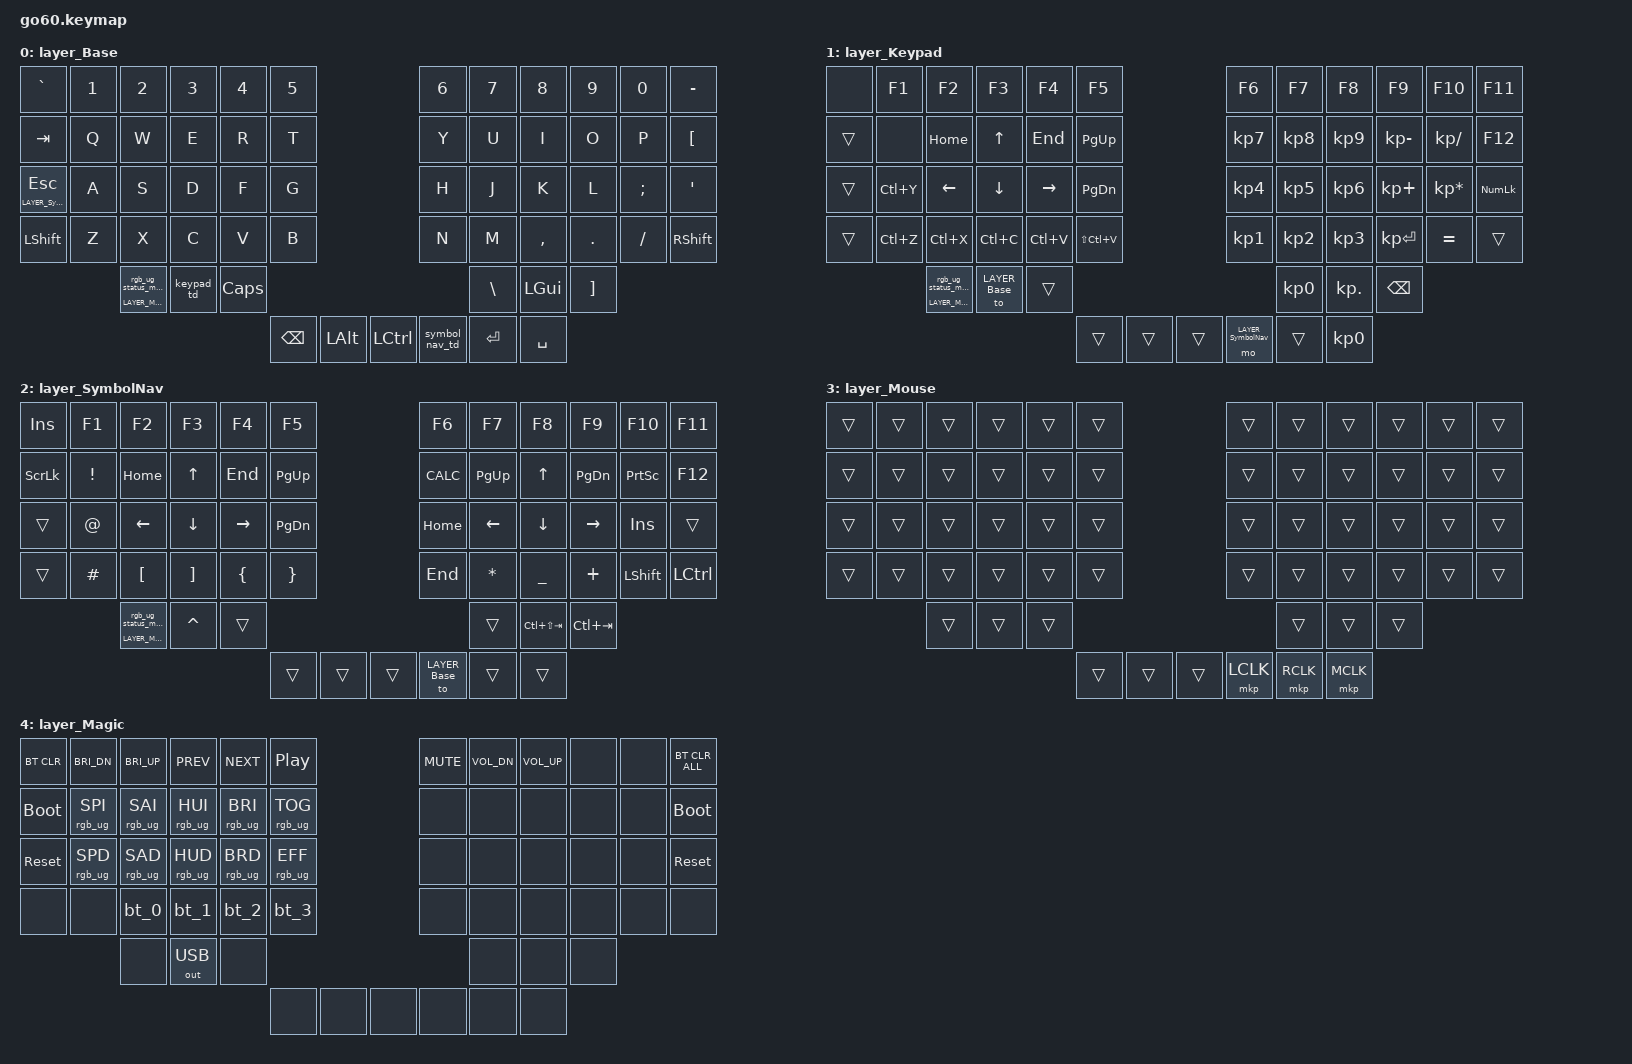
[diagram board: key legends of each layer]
/*
 * Copyright (c) 2020 The ZMK Contributors
 *
 * SPDX-License-Identifier: MIT
 */

#include <behaviors.dtsi>

#include <dt-bindings/zmk/bt.h>
#include <dt-bindings/zmk/ext_power.h>
#include <dt-bindings/zmk/keys.h>
#include <dt-bindings/zmk/outputs.h>
#include <dt-bindings/zmk/rgb.h>
#include <dt-bindings/zmk/input_transform.h>
#include <dt-bindings/zmk/pointing.h>

#include <input/processors.dtsi>
#include <zephyr/dt-bindings/input/input-event-codes.h>

#include "keys.dtsi"

// layers
#define LAYER_Base 0
#define LAYER_Keypad 1
#define LAYER_SymbolNav 2
#define LAYER_Mouse 3
#define LAYER_Magic 4

#define SYM_NAV_ESC &sym_nav_th LAYER_SymbolNav ESC

/ {
    input_processors {
        zip_click_to_right_click_mapper: zip_click_to_right_click_mapper {
            compatible = "zmk,input-processor-code-mapper";
            #input-processor-cells = <0>;
            type = <INPUT_EV_KEY>;
            map = <INPUT_BTN_0 INPUT_BTN_1>;
        };
    };

    behaviors {
        magic: magic {
            compatible = "zmk,behavior-hold-tap";
            #binding-cells = <2>;
            flavor = "tap-preferred";
            tapping-term-ms = <200>;
            bindings = <&mo>, <&rgb_ug_status_macro>;
        };

        keypad_td: keypad_td {
            compatible = "zmk,behavior-tap-dance";
            #binding-cells = <0>;
            tapping-term-ms = <200>;
            bindings = <&mo LAYER_Keypad>, <&to LAYER_Keypad>;
        };

        sym_nav_th: sym_nav_tap_hold {
            compatible = "zmk,behavior-hold-tap";
            flavor = "hold-preferred";
            #binding-cells = <2>;
            tapping-term-ms = <200>;
            bindings = <&mo>, <&kp>;
        };

        symbol_nav_td: symbol_nav_td {
            compatible = "zmk,behavior-tap-dance";
            #binding-cells = <0>;
            tapping-term-ms = <200>;
            bindings = <&mo LAYER_SymbolNav>, <&to LAYER_SymbolNav>;
        };

        bt_0: bt_0 {
            compatible = "zmk,behavior-tap-dance";
            #binding-cells = <0>;
            tapping-term-ms = <200>;
            bindings = <&bt_select_0>, <&bt BT_DISC 0>;
        };
        bt_1: bt_1 {
            compatible = "zmk,behavior-tap-dance";
            #binding-cells = <0>;
            tapping-term-ms = <200>;
            bindings = <&bt_select_1>, <&bt BT_DISC 1>;
        };
        bt_2: bt_2 {
            compatible = "zmk,behavior-tap-dance";
            #binding-cells = <0>;
            tapping-term-ms = <200>;
            bindings = <&bt_select_2>, <&bt BT_DISC 2>;
        };
        bt_3: bt_3 {
            compatible = "zmk,behavior-tap-dance";
            #binding-cells = <0>;
            tapping-term-ms = <200>;
            bindings = <&bt_select_3>, <&bt BT_DISC 3>;
        };

        hml: home_row_mod_left {
            compatible = "zmk,behavior-hold-tap";
            #binding-cells = <2>;
            flavor = "balanced";
            require-prior-idle-ms = <150>;
            tapping-term-ms = <280>;
            quick-tap-ms = <175>;
            bindings = <&kp>, <&kp>;
            hold-trigger-key-positions = <RIGHT_HAND_KEYS>; // List of keys on the right side of the keyboard
            hold-trigger-on-release;
        };
        hmr: home_row_mod_right {
            compatible = "zmk,behavior-hold-tap";
            #binding-cells = <2>;
            flavor = "balanced";
            require-prior-idle-ms = <150>;
            tapping-term-ms = <280>;
            quick-tap-ms = <175>;
            bindings = <&kp>, <&kp>;
            hold-trigger-key-positions = <LEFT_HAND_KEYS>; // List of keys on the left side of the keyboard
            hold-trigger-on-release;
        };
    };

    macros {
        rgb_ug_status_macro: rgb_ug_status_macro {
            compatible = "zmk,behavior-macro";
            #binding-cells = <0>;
            bindings = <&rgb_ug RGB_STATUS>;
        };

        bt_select_0: bt_select_0 {
            compatible = "zmk,behavior-macro";
            #binding-cells = <0>;
            bindings
                = <&out OUT_BLE>,
                  <&bt BT_SEL 0>;
        };
        bt_select_1: bt_select_1 {
            compatible = "zmk,behavior-macro";
            #binding-cells = <0>;
            bindings
                = <&out OUT_BLE>,
                  <&bt BT_SEL 1>;
        };
        bt_select_2: bt_select_2 {
            compatible = "zmk,behavior-macro";
            #binding-cells = <0>;
            bindings
                = <&out OUT_BLE>,
                  <&bt BT_SEL 2>;
        };
        bt_select_3: bt_select_3 {
            compatible = "zmk,behavior-macro";
            #binding-cells = <0>;
            bindings
                = <&out OUT_BLE>,
                  <&bt BT_SEL 3>;
        };
    };

    combos {
        compatible = "zmk,combos";

#define COMBO_OPTS timeout-ms = <20>; require-prior-idle-ms = <200>;

        combo_left_shift {
            COMBO_OPTS
            key-positions = <POS_LH_C2R2 POS_LH_C2R3>;
            bindings = <&kp LSHFT>;
        };

        combo_right_shift {
            COMBO_OPTS
            key-positions = <POS_RH_C2R2 POS_RH_C2R3>;
            bindings = <&kp RSHFT>;
        };

        combo_left_mod3 {
            COMBO_OPTS
            key-positions = <POS_LH_C3R2 POS_LH_C3R3>;
            bindings = <&kp CAPS>;
        };

        combo_right_mod3 {
            COMBO_OPTS
            key-positions = <POS_RH_C3R2 POS_RH_C3R3>;
            bindings = <&kp CAPS>;
        };

        combo_del {
            COMBO_OPTS
            key-positions = <POS_LH_T1 POS_LH_T2>;
            bindings = <&kp DEL>;
        };

        combo_left_super {
            COMBO_OPTS
            key-positions = <POS_LH_T2 POS_LH_T3>;
            bindings = <&kp LGUI>;
        };

        // F1 combo for Go60 - TailorKey
        combo_F1_cb_v1_TKZ {
            COMBO_OPTS
            key-positions = <POS_LH_C5R1 POS_LH_C5R2>;
            bindings = <&kp F1>;
        };

        // F2 combo for Go60 - TailorKey
        combo_F2_cb_v1_TKZ {
            COMBO_OPTS
            key-positions = <POS_LH_C4R2 POS_LH_C4R1>;
            bindings = <&kp F2>;
        };

        // F3 combo for Go60 - TailorKey
        combo_F3_cb_v1_TKZ {
            COMBO_OPTS
            key-positions = <POS_LH_C3R2 POS_LH_C3R1>;
            bindings = <&kp F3>;
        };

        // F4 combo for Go60 - TailorKey
        combo_F4_cb_v1_TKZ {
            COMBO_OPTS
            key-positions = <POS_LH_C2R2 POS_LH_C2R1>;
            bindings = <&kp F4>;
        };

        // F5 combo for Go60 - TailorKey
        combo_F5_cb_v1_TKZ {
            COMBO_OPTS
            key-positions = <POS_LH_C1R2 POS_LH_C1R1>;
            bindings = <&kp F5>;
        };

        // F6 combo for Go60 - TailorKey
        combo_F6_cb_v1_TKZ {
            COMBO_OPTS
            key-positions = <POS_RH_C1R1 POS_RH_C1R2>;
            bindings = <&kp F6>;
        };

        // F7 combo for Go60 - TailorKey
        combo_F7_cb_v1_TKZ {
            COMBO_OPTS
            key-positions = <POS_RH_C2R1 POS_RH_C2R2>;
            bindings = <&kp F7>;
        };

        // F8 combo for Go60 - TailorKey
        combo_F8_cb_v1_TKZ {
            COMBO_OPTS
            key-positions = <POS_RH_C3R1 POS_RH_C3R2>;
            bindings = <&kp F8>;
        };

        // F9 combo for Go60 - TailorKey
        combo_F9_cb_v1_TKZ {
            COMBO_OPTS
            key-positions = <POS_RH_C4R1 POS_RH_C4R2>;
            bindings = <&kp F9>;
        };

        // F10 combo for Go60 - TailorKey
        combo_F10_cb_v1_TKZ {
            COMBO_OPTS
            key-positions = <POS_RH_C5R1 POS_RH_C5R2>;
            bindings = <&kp F10>;
        };

        // F11 combo for Go60 - TailorKey
        combo_F11_cb_v1_TKZ {
            COMBO_OPTS
            key-positions = <POS_RH_C6R1 POS_RH_C6R2>;
            bindings = <&kp F11>;
        };

        // F12 combo for Go60 - TailorKey
        combo_F12_cb_v1_TKZ {
            COMBO_OPTS
            key-positions = <POS_RH_C5R1 POS_RH_C6R1>;
            bindings = <&kp F12>;
        };

    };

    keymap {
        compatible = "zmk,keymap";
        layer_Base {
            bindings = <
            &kp GRAVE  &kp N1     &kp N2       &kp N3    &kp N4  &kp N5                                                             &kp N6        &kp N7       &kp N8    &kp N9    &kp N0   &kp MINUS
              &kp TAB   &kp Q      &kp W        &kp E     &kp R   &kp T                                                              &kp Y         &kp U        &kp I     &kp O     &kp P    &kp LBKT
          SYM_NAV_ESC   &kp A      &kp S        &kp D     &kp F   &kp G                                                              &kp H         &kp J        &kp K     &kp L  &kp SEMI     &kp SQT
            &kp LSHFT   &kp Z      &kp X        &kp C     &kp V   &kp B                                                              &kp N         &kp M    &kp COMMA   &kp DOT  &kp FSLH  &kp RSHFT
                    &magic LAYER_Magic 0   &keypad_td  &kp CAPS                                                                                 &kp BSLH     &kp LGUI  &kp RBKT
                                                               &kp BSPC  &kp LALT  &kp LCTRL            &symbol_nav_td  &kp RET  &kp SPACE
            >;
        };

        layer_Keypad {
            bindings = <
                &none     &kp F1     &kp F2          &kp F3     &kp F4         &kp F5                                                     &kp F6     &kp F7      &kp F8        &kp F9          &kp F10     &kp F11
               &trans      &none   &kp HOME          &kp UP    &kp END      &kp PG_UP                                                  &kp KP_N7  &kp KP_N8   &kp KP_N9  &kp KP_MINUS     &kp KP_SLASH     &kp F12
               &trans  &kp LC(Y)   &kp LEFT        &kp DOWN  &kp RIGHT      &kp PG_DN                                                  &kp KP_N4  &kp KP_N5   &kp KP_N6   &kp KP_PLUS  &kp KP_MULTIPLY  &kp KP_NUM
               &trans  &kp LC(Z)  &kp LC(X)       &kp LC(C)  &kp LC(V)  &kp LS(LC(V))                                                  &kp KP_N1  &kp KP_N2   &kp KP_N3  &kp KP_ENTER        &kp EQUAL      &trans
                       &magic LAYER_Magic 0  &to LAYER_Base     &trans                                                                            &kp KP_N0  &kp KP_DOT      &kp BSPC
                                                                               &trans  &trans  &trans     &mo LAYER_SymbolNav  &trans  &kp KP_N0
            >;
        };

        layer_SymbolNav {
            bindings = <
              &kp INS    &kp F1     &kp F2    &kp F3     &kp F4     &kp F5                                               &kp F6     &kp F7           &kp F8       &kp F9          &kp F10    &kp F11
             &kp SLCK  &kp EXCL   &kp HOME    &kp UP    &kp END  &kp PG_UP                                           &kp K_CALC  &kp PG_UP           &kp UP    &kp PG_DN        &kp PSCRN    &kp F12
               &trans    &kp AT   &kp LEFT  &kp DOWN  &kp RIGHT  &kp PG_DN                                             &kp HOME   &kp LEFT         &kp DOWN    &kp RIGHT          &kp INS     &trans
               &trans  &kp HASH   &kp LBKT  &kp RBKT   &kp LBRC   &kp RBRC                                              &kp END   &kp STAR        &kp UNDER     &kp PLUS        &kp LSHFT  &kp LCTRL
                      &magic LAYER_Magic 0  &kp CARET    &trans                                                          &trans  &kp LC(LS(TAB))  &kp LC(TAB)
                                                                    &trans  &trans  &trans       &to LAYER_Base  &trans  &trans
            >;
        };

        layer_Mouse {
            bindings = <
 &trans  &trans  &trans  &trans  &trans  &trans                                           &trans  &trans  &trans  &trans  &trans  &trans
 &trans  &trans  &trans  &trans  &trans  &trans                                           &trans  &trans  &trans  &trans  &trans  &trans
 &trans  &trans  &trans  &trans  &trans  &trans                                           &trans  &trans  &trans  &trans  &trans  &trans
 &trans  &trans  &trans  &trans  &trans  &trans                                           &trans  &trans  &trans  &trans  &trans  &trans
                 &trans  &trans  &trans                                                           &trans  &trans  &trans
                                         &trans  &trans  &trans  &mkp LCLK  &mkp RCLK  &mkp MCLK
            >;
        };

        layer_Magic {
            bindings = <
  &bt BT_CLR     &kp C_BRI_DN     &kp C_BRI_UP       &kp C_PREV       &kp C_NEXT         &kp C_PP                                &kp C_MUTE  &kp C_VOL_DN  &kp C_VOL_UP   &none   &none   &bt BT_CLR_ALL
 &bootloader  &rgb_ug RGB_SPI  &rgb_ug RGB_SAI  &rgb_ug RGB_HUI  &rgb_ug RGB_BRI  &rgb_ug RGB_TOG                                     &none         &none         &none   &none   &none      &bootloader
  &sys_reset  &rgb_ug RGB_SPD  &rgb_ug RGB_SAD  &rgb_ug RGB_HUD  &rgb_ug RGB_BRD  &rgb_ug RGB_EFF                                     &none         &none         &none   &none   &none       &sys_reset
       &none            &none            &bt_0            &bt_1            &bt_2            &bt_3                                     &none         &none         &none   &none   &none            &none
                                         &none     &out OUT_USB            &none                                                                    &none         &none   &none
                                                                                            &none   &none   &none     &none   &none   &none
            >;
        };

    };
};

&cirque_rh_listener {
    input-processors = <&zip_xy_scaler 3 1>, <&zip_temp_layer LAYER_Mouse 1000>;
    layer_2 {
        layers = <2>;
        input-processors = <&zip_xy_scaler 9 1>;
    };
};

&cirque_lh_listener {
    input-processors = <&zip_xy_to_scroll_mapper>, <&zip_xy_scaler 1 1>, <&zip_click_to_right_click_mapper>;
    layer_4 {
        layers = <4>;
        input-processors = <&zip_xy_scaler 3 1>;
    };
};
